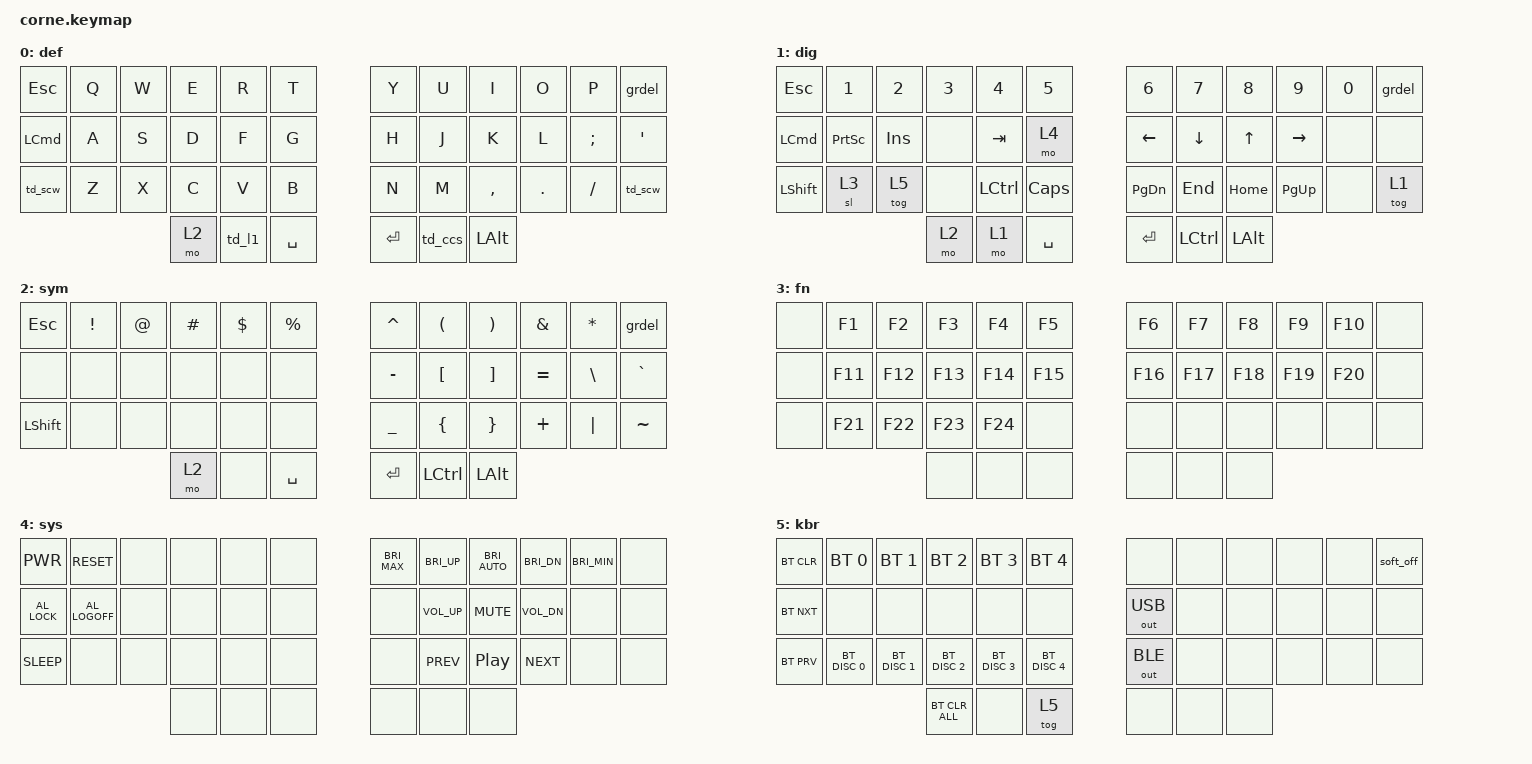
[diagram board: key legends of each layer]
// ╔═════════════════════════════════════════════════════════════╗
// ║															 ║
// ║     ██████╗██╗██╗████████╗ ██╗       ██╗ █████╗ ██╗         ║
// ║    ██╔════╝██║██║╚══██╔══╝ ██║  ██╗  ██║██╔══██╗██║         ║
// ║    ╚█████╗ ██║██║   ██║    ╚██╗████╗██╔╝███████║██║         ║
// ║     ╚═══██╗██║██║   ██║     ████╔═████║ ██╔══██║██║         ║
// ║    ██████╔╝██║██║   ██║     ╚██╔╝ ╚██╔╝ ██║  ██║███████╗    ║
// ║    ╚═════╝ ╚═╝╚═╝   ╚═╝      ╚═╝   ╚═╝  ╚═╝  ╚═╝╚══════╝    ║
// ║															 ║
// ╚═════════════════════════════════════════════════════════════╝


#include <behaviors.dtsi>
#include <dt-bindings/zmk/keys.h>
#include <dt-bindings/zmk/bt.h>
#include <dt-bindings/zmk/ext_power.h>
#include <dt-bindings/zmk/outputs.h>


&soft_off { hold-time-ms = <2000>; };
&caps_word { continue-list = <BACKSPACE DELETE UNDER>; };
&sl { release-after-ms = <1500>; };


/ {
	behaviors {
        td_scw: tap_dance_shift_caps_word {
            compatible = "zmk,behavior-tap-dance";
            #binding-cells = <0>;
            tapping-term-ms = <200>;
            bindings = <&kp LSHFT>, <&caps_word>;
        };
		td_ccs: tap_dance_ctrl_ctrl_shift {
            compatible = "zmk,behavior-tap-dance";
            #binding-cells = <0>;
            tapping-term-ms = <200>;
            bindings = <&kp LCTRL>, <&sk LC(LSHFT)>;
        };
		td_l1: tap_dance_layer_1 {
            compatible = "zmk,behavior-tap-dance";
            #binding-cells = <0>;
            tapping-term-ms = <200>;
            bindings = <&mo 1>, <&tog 1>;
        };
		grdel: grave_delete {
            compatible = "zmk,behavior-mod-morph";
            #binding-cells = <0>;
            bindings = <&kp BSPC>, <&kp DELETE>;
            mods = <(MOD_LSFT)>;
        };
    };
	keymap {
		compatible = "zmk,keymap";
		default_layer { // layer 0: def
// DONE
// ╔════════════════════════════════════════════════════════════════════════════════════════════════════════════╗
// ║																							                ║
// ║   ┌───────┬───────┬───────┬───────┬───────┬───────┐    ┌───────┬───────┬───────┬───────┬───────┬───────┐   ║     
// ║   │  ESC  │   Q   │   W   │   E   │   R   │   T   │    │   Y   │   U   │   I   │   O   │   P   │  DEL  │   ║
// ║   ├───────┼───────┼───────┼───────┼───────┼───────┤    ├───────┼───────┼───────┼───────┼───────┼───────┤   ║
// ║   │  CMD  │   A   │   S   │   D   │   F   │   G   │    │   H   │   J   │   K   │   L   │   ;   │   '   │   ║
// ║   ├───────┼───────┼───────┼───────┼───────┼───────┤    ├───────┼───────┼───────┼───────┼───────┼───────┤   ║
// ║   │  SCW  │   Z   │   X   │   C   │   V   │   B   │    │   N   │   M   │   ,   │   .   │   /   │  SL3  │   ║
// ║   └───────┴───────┴───────┼───────┼───────┼───────┤    ├───────┼───────┼───────┼───────┴───────┴───────┘   ║
// ║                           │  ML2  │  DL1  │  SPC  │    │  ENT  │  CCS  │  ALT  │					        ║
// ║       	     		       └───────┴───────┴───────┘    └───────┴───────┴───────┘                           ║
// ║																											║
// ╚════════════════════════════════════════════════════════════════════════════════════════════════════════════╝
			display-name = "def";
			bindings = <
				&kp ESC   &kp Q &kp W &kp E &kp R   &kp T    &kp Y &kp U  &kp I     &kp O   &kp P    &grdel
				&kp LCMD  &kp A &kp S &kp D &kp F   &kp G    &kp H &kp J  &kp K     &kp L   &kp SEMI &kp SQT
				&td_scw   &kp Z &kp X &kp C &kp V   &kp B    &kp N &kp M  &kp COMMA &kp DOT &kp FSLH &td_scw
							       &mo 2 &td_l1 &kp SPACE    &kp RET &td_ccs &kp LALT
			>;
		};


		lower_layer { // layer 1: dig
// DONE
// ╔════════════════════════════════════════════════════════════════════════════════════════════════════════════╗
// ║					     																	                ║
// ║   ┌───────┬───────┬───────┬───────┬───────┬───────┐    ┌───────┬───────┬───────┬───────┬───────┬───────┐   ║
// ║   │  ESC  │   1   │   2   │   3   │   4   │   5   │    │   6   │   7   │   8   │   9   │   0   │  DEL  │   ║
// ║   ├───────┼───────┼───────┼───────┼───────┼───────┤    ├───────┼───────┼───────┼───────┼───────┼───────┤   ║
// ║   │  CMD  │ PSCRN │  INS  │       │  TAB  │  ML4  │    │  LFT  │  DOWN │   UP  │  RGT  │       │       │   ║
// ║   ├───────┼───────┼───────┼───────┼───────┼───────┤    ├───────┼───────┼───────┼───────┼───────┼───────┤   ║
// ║   │ SHIFT │  SL3  │  TL5  │       │ LCTRL │ CAPS  │    │ PG_DN │  END  │  HOME │ PG_UP │       │  TL1  │   ║
// ║   └───────────────────────┼───────┼───────┼───────┤    ├───────┼───────┼───────┼───────┴───────┴───────┘   ║
// ║                           │  ML2  │  ML1  │  SPC  │    │  ENT  │ LCTRL │  ALT  │					        ║
// ║		     		       └───────┴───────┴───────┘    └───────┴───────┴───────┘                           ║
// ║																							                ║
// ╚════════════════════════════════════════════════════════════════════════════════════════════════════════════╝
			display-name = "dig";
			bindings = <
				&kp ESC   &kp N1    &kp N2   &kp N3 &kp N4    &kp N5       &kp N6    &kp N7    &kp N8    &kp N9    &kp N0 &grdel
				&kp LCMD  &kp PSCRN &kp INS  &none  &kp TAB   &mo 4        &kp LEFT  &kp DOWN  &kp UP    &kp RIGHT &none  &none
				&kp LSHFT &sl 3     &tog 5   &none  &kp LCTRL &kp CAPS     &kp PG_DN &kp END   &kp HOME  &kp PG_UP &none  &tog 1
							                     &mo 2 &mo 1 &kp SPACE     &kp RET   &kp LCTRL &kp LALT
			>;
		};


		rise_layer { // layer 2: sym
// DONE
// ╔════════════════════════════════════════════════════════════════════════════════════════════════════════════╗
// ║																						                    ║
// ║   ┌───────┬───────┬───────┬───────┬───────┬───────┐    ┌───────┬───────┬───────┬───────┬───────┬───────┐   ║
// ║   │  ESC  │   !   │   @   │   #   │   $   │   %   │    │   ^   │   (   │   )   │   &   │   *   │  DEL  │   ║
// ║   ├───────┼───────┼───────┼───────┼───────┼───────┤    ├───────┼───────┼───────┼───────┼───────┼───────┤   ║
// ║   │       │       │       │       │       │       │    │   -   │   [   │   ]   │   =   │   \   │   `   │   ║
// ║   ├───────┼───────┼───────┼───────┼───────┼───────┤    ├───────┼───────┼───────┼───────┼───────┼───────┤   ║
// ║   │ SHIFT │       │       │       │       │       │    │   _   │   {   │   }   │   +   │   |   │   ~   │   ║
// ║   └───────┴───────┴───────┼───────┼───────┼───────┤    ├───────┼───────┼───────┼───────┴───────┴───────┘   ║
// ║                           │  ML2  │       │  SPC  │    │  ENT  │  CTRL │  ALT  │					        ║
// ║   		     		       └───────┴───────┴───────┘    └───────┴───────┴───────┘                           ║
// ║																						                    ║
// ╚════════════════════════════════════════════════════════════════════════════════════════════════════════════╝
			display-name = "sym";
			bindings = <
				&kp ESC   &kp EXCL &kp AT &kp HASH &kp DLLR &kp PRCNT     &kp CARET &kp LPAR  &kp RPAR &kp AMPS  &kp STAR &grdel
				&none     &none    &none  &none    &none    &none         &kp MINUS &kp LBKT  &kp RBKT &kp EQUAL &kp BSLH &kp GRAVE
				&kp LSHFT &none    &none  &none    &none    &none         &kp UNDER &kp LBRC  &kp RBRC &kp PLUS  &kp PIPE &kp TILDE
					                            &mo 2 &none &kp SPACE     &kp RET &kp LCTRL &kp LALT
			>;
		};

		fn_layer { // layer 3: fn
// DONE 
// ╔════════════════════════════════════════════════════════════════════════════════════════════════════════════╗
// ║									  								                                        ║
// ║   ┌───────┬───────┬───────┬───────┬───────┬───────┐    ┌───────┬───────┬───────┬───────┬───────┬───────┐   ║
// ║   │       │  f1   │  f2   │  f3   │  f4   │  f5   │    │  f6   │  f7   │  f8   │  f9   │  f10  │       │   ║
// ║   ├───────┼───────┼───────┼───────┼───────┼───────┤    ├───────┼───────┼───────┼───────┼───────┼───────┤   ║
// ║   │       │  f11  │  f12  │  f13  │  f14  │  f15  │    │  f16  │  f17  │  f18  │  f19  │  f20  │       │   ║
// ║   ├───────┼───────┼───────┼───────┼───────┼───────┤    ├───────┼───────┼───────┼───────┼───────┼───────┤   ║
// ║   │       │  f21  │  f22  │  f23  │  f24  │       │    │       │       │       │       │       │       │   ║
// ║   └───────┴───────┴───────┼───────┼───────┼───────┤    ├───────┼───────┼───────┼───────┴───────┴───────┘   ║
// ║                           │       │       │       │    │       │       │       │					        ║
// ║	    		           └───────┴───────┴───────┘    └───────┴───────┴───────┘                           ║
// ║																			                                ║
// ╚════════════════════════════════════════════════════════════════════════════════════════════════════════════╝
			display-name = "fn";
			bindings = <
				&none &kp F1  &kp F2  &kp F3  &kp F4  &kp F5     &kp F6  &kp F7  &kp F8  &kp F9  &kp F10 &none
				&none &kp F11 &kp F12 &kp F13 &kp F14 &kp F15    &kp F16 &kp F17 &kp F18 &kp F19 &kp F20 &none
				&none &kp F21 &kp F22 &kp F23 &kp F24 &none      &none   &none   &none   &none   &none   &none 
					                        &none &none &none    &none &none &none 
			>;
		};

		sys_settings_layer { //layer 4: sys
// DONE
// ╔════════════════════════════════════════════════════════════════════════════════════════════════════════════╗
// ║																		                                    ║
// ║   ┌───────┬───────┬───────┬───────┬───────┬───────┐    ┌───────┬───────┬───────┬───────┬───────┬───────┐   ║
// ║   │ C_PWR │ C_RST │       │       │       │       │    │ BR_MX │ BR_UP │ BR_AT │ BR_DN │ BR_MN │       │   ║
// ║   ├───────┼───────┼───────┼───────┼───────┼───────┤    ├───────┼───────┼───────┼───────┼───────┼───────┤   ║
// ║   │ C_LCK │ C_LGO │       │       │       │       │    │       │ VL_UP │ MUTE  │ VL_DN │       │       │   ║
// ║   ├───────┼───────┼───────┼───────┼───────┼───────┤    ├───────┼───────┼───────┼───────┼───────┼───────┤   ║
// ║   │ C_SLP │       │       │       │       │       │    │       │  PRV  │  PP   │  NXT  │       │       │   ║
// ║   └───────┴───────┴───────┼───────┼───────┼───────┤    ├───────┼───────┼───────┼───────┴───────┴───────┘   ║
// ║                           │       │       │       │    │       │       │       │					        ║
// ║ 	    	 	           └───────┴───────┴───────┘    └───────┴───────┴───────┘                           ║
// ║																		                                    ║
// ╚════════════════════════════════════════════════════════════════════════════════════════════════════════════╝
			display-name = "sys";
			bindings = <
				&kp C_PWR     &kp C_RESET     &none &none &none &none      &kp C_BRI_MAX &kp C_BRI_UP &kp C_BRI_AUTO &kp C_BRI_DN &kp C_BRI_MIN &none 
				&kp C_AL_LOCK &kp C_AL_LOGOFF &none &none &none &none      &none         &kp C_VOL_UP &kp C_MUTE     &kp C_VOL_DN &none         &none 
				&kp C_SLEEP   &none           &none &none &none &none      &none         &kp  C_PREV  &kp  C_PP      &kp  C_NEXT  &none         &none
					                          &none &none &none      &none &none &none 
			>;
		};


		kb_settings_layer { //layer 5: kbr
// DONE
// ╔════════════════════════════════════════════════════════════════════════════════════════════════════════════╗
// ║																		                                    ║
// ║   ┌───────┬───────┬───────┬───────┬───────┬───────┐    ┌───────┬───────┬───────┬───────┬───────┬───────┐   ║
// ║   │  CLR  │ SEL_1 │ SEL_2 │ SEL_3 │ SEL_4 │ SEL_5 │    │       │       │       │       │       │  SFT  │   ║
// ║   ├───────┼───────┼───────┼───────┼───────┼───────┤    ├───────┼───────┼───────┼───────┼───────┼───────┤   ║
// ║   │  NXT  │       │       │       │       │       │    │  USB  │       │       │       │       │       │   ║
// ║   ├───────┼───────┼───────┼───────┼───────┼───────┤    ├───────┼───────┼───────┼───────┼───────┼───────┤   ║
// ║   │  PRV  │ DIS_1 │ DIS_2 │ DIS_3 │ DIS_4 │ DIS_5 │    │  BLE  │       │       │       │       │       │   ║
// ║   └───────┴───────┴───────┼───────┼───────┼───────┤    ├───────┼───────┼───────┼───────┴───────┴───────┘   ║
// ║                           │ CLR_A │       │  EXT  │    │       │       │       │				            ║
// ║ 	     		           └───────┴───────┴───────┘    └───────┴───────┴───────┘                           ║
// ║																									        ║
// ╚════════════════════════════════════════════════════════════════════════════════════════════════════════════╝
			display-name = "kbr";
			bindings = <
				&bt BT_CLR &bt BT_SEL 0  &bt BT_SEL 1  &bt BT_SEL 2  &bt BT_SEL 3  &bt BT_SEL 4         &none        &none &none &none &none &soft_off
				&bt BT_NXT &none         &none         &none         &none         &none                &out OUT_USB &none &none &none &none &none
				&bt BT_PRV &bt BT_DISC 0 &bt BT_DISC 1 &bt BT_DISC 2 &bt BT_DISC 3 &bt BT_DISC 4        &out OUT_BLE &none &none &none &none &none
				                                                     &bt BT_CLR_ALL &none &tog 5        &none &none &none
			>;
		};



	};
};
